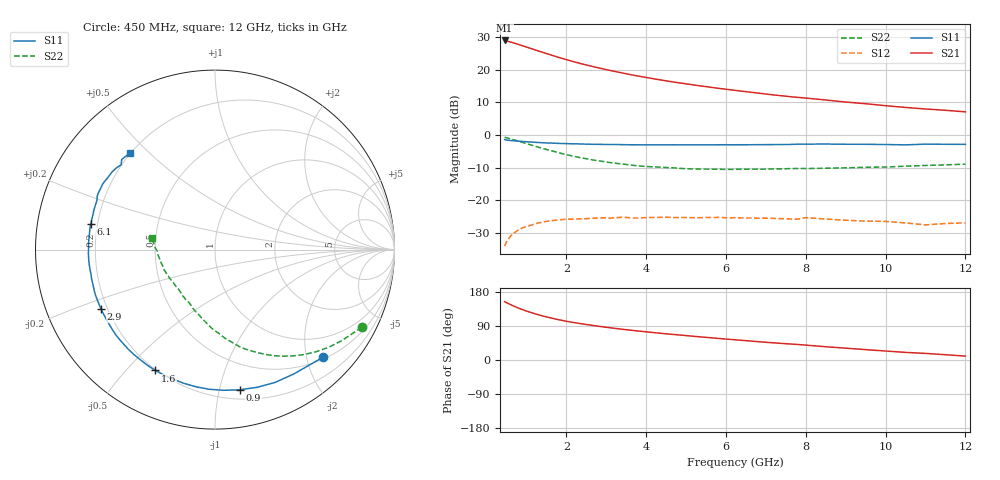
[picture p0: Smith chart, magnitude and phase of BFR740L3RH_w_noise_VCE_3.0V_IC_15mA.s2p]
! (c) 2012  Infineon Technologies AG, Munich
! Infineon Technologies  Discrete & RF Semiconductors
! BFR740L3RH
! VCE =  3.0 V,  IC =  15 mA
! Common Emitter S-Parameters:  May 2012
# GHz  S  MA  R  50
!  f  S11  S21  S12  S22
! GHz  MAG  ANG  MAG  ANG  MAG  ANG  MAG  ANG
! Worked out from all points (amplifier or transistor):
!   85 points, 450 MHz to 12 GHz, reference 50 ohm
!   highest |S21| = 28.9 dB at 450 MHz (marker M1)
!   |S21| within 3 dB of that: start of sweep to 1.244 GHz
!   unconditionally stable (mu >= 1): 7.181 GHz to end of sweep
!   at 1.8 GHz: K = 0.23, MSG = 24.9 dB, |S12| = -26.0 dB
!   at 4.6 GHz: K = 0.60, MSG = 20.8 dB, |S12| = -25.2 dB
!   at 12 GHz: K = 2.14, MAG = 10.9 dB, |S12| = -26.9 dB
!   lowest NFmin = 0.72 dB at 450 MHz
!   S11 on the Smith chart (normalised r, x): 450 MHz: 0.54, -2.33; 900 MHz: 0.27, -1.16; 1.6 GHz: 0.20, -0.60; 2.9 GHz: 0.18, -0.24; 6.1 GHz: 0.17, +0.10; 12 GHz: 0.20, +0.44
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0.45  0.8502 -44.7  27.94 154.0  0.0198 66.9  0.9244 -27.8
0.6  0.8204 -57.5  26.43 146.1  0.0283 58.8  0.8687 -35.8
0.7  0.8123 -65.6  25.37 141.4  0.032 55.4  0.8349 -40.7
0.8  0.8024 -73.0  24.26 136.9  0.0353 51.7  0.8005 -45.3
0.9  0.7932 -79.9  23.18 132.9  0.0377 48.9  0.7674 -49.6
1.1  0.7788 -92.3  21.14 125.7  0.0413 43.4  0.705 -57.4
1.3  0.7649 -103.1  19.27 119.2  0.0449 38.4  0.6481 -64.3
1.4  0.7589 -107.9  18.4 116.3  0.0463 36.4  0.6222 -67.4
1.6  0.751 -116.3  16.84 111.2  0.0483 32.5  0.5773 -73.3
1.8  0.7413 -124.2  15.41 106.4  0.0502 29.3  0.5351 -78.4
2  0.7361 -130.8  14.2 102.2  0.0513 26.4  0.4996 -83.2
2.4  0.7253 -141.8  12.18 95.2  0.0519 22.9  0.4433 -91.6
2.9  0.7157 -152.6  10.31 87.7  0.0537 19.1  0.3937 -100.1
3.5  0.708 -163.2  8.632 79.9  0.0545 15.9  0.3527 -109.9
4.3  0.7056 -173.5  7.042 71.1  0.0545 13.7  0.3221 -120.3
5.3  0.7048 175.3  5.691 61.5  0.054 10.5  0.3 -132.8
6.1  0.7066 168.3  4.916 54.4  0.0537 9.3  0.2964 -142.0
6.3  0.707 166.4  4.748 52.7  0.0537 8.9  0.2974 -144.2
7.2  0.711 159.4  4.088 45.2  0.0527 7.0  0.3017 -153.7
8.5  0.7247 149.4  3.424 35.0  0.0515 5.5  0.3091 -166.7
10.5  0.7044 137.9  2.633 20.1  0.0449 9.4  0.3321 178.6
12  0.7163 131.1  2.256 10.3  0.0451 19.7  0.3566 169.6
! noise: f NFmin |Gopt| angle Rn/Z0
0.45  0.72  0.11  6  0.11
0.9  0.73  0.11  24  0.11
1.5  0.75  0.13  46  0.1
1.9  0.76  0.15  59  0.1
2.4  0.78  0.16  69  0.1
3.5  0.84  0.18  90  0.1
5.5  0.99  0.22  120  0.09
8  1.21  0.28  155  0.08
10  1.39  0.32  -176  0.07
12  1.57  0.35  -150  0.09
